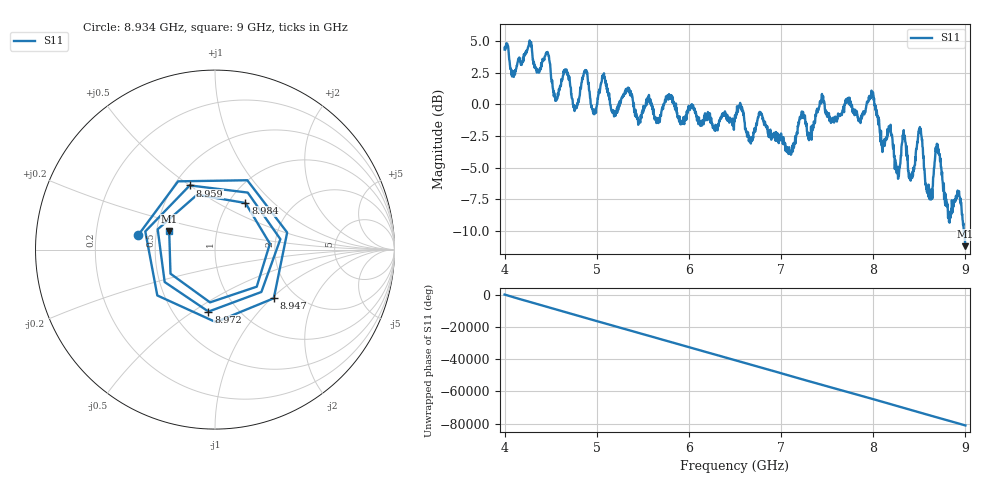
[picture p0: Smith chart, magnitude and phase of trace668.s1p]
! Created with skrf 1.8.0 (http://scikit-rf.org).
# Hz S RI R 50.0
!freq ReS11 ImS11
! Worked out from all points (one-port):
!   1601 points, 4 GHz to 9 GHz, reference 50 ohm
!   lowest |S11| = -11.2 dB at 9 GHz (marker M1), VSWR 1.76, Z = 29.1 + j6.57 ohm
!   |S11| at or under -10 dB: 8.982366 GHz to end of sweep
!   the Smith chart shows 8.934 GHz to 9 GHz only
!   S11 on the Smith chart (normalised r, x): 8.934 GHz: 0.40, +0.08; 8.947 GHz: 1.56, -1.03; 8.959 GHz: 0.60, +0.50; 8.972 GHz: 0.74, -0.58; 8.984 GHz: 1.19, +0.69; 9 GHz: 0.58, +0.13
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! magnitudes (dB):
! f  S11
! 4 GHz  4.3
! 4.459 GHz  4.0
! 4.559 GHz  0.3
! 4.625 GHz  2.0
! 4.766 GHz  -0.2
! 4.875 GHz  2.7
! 4.966 GHz  -0.8
! 5.072 GHz  2.1
! 5.25 GHz  0.3
! 5.875 GHz  -1.0
! 6.5 GHz  -0.9
! 7.125 GHz  -3.7
! 7.444 GHz  0.8
! 7.75 GHz  0.0
! 7.984 GHz  0.9
! 8.103 GHz  -3.3
! 8.375 GHz  -4.6
! 8.419 GHz  -5.6
! 8.506 GHz  -1.8
! 8.603 GHz  -6.4
! 8.697 GHz  -3.4
! 8.812 GHz  -9.0
! 8.934 GHz  -7.2
! 8.947 GHz  -7.4
! 8.959 GHz  -8.3
! 8.972 GHz  -9.2
! 8.984 GHz  -10.2
! 9 GHz  -11.2
